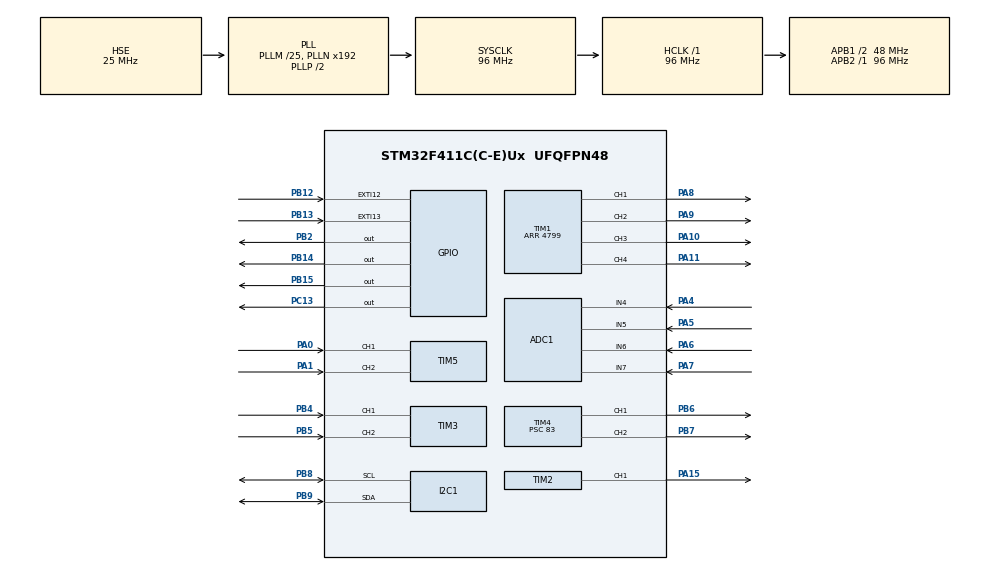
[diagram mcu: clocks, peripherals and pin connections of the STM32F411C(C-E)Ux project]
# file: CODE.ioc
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ADC1.Channel-4\#ChannelRegularConversion=ADC_CHANNEL_4
ADC1.Channel-5\#ChannelRegularConversion=ADC_CHANNEL_5
ADC1.Channel-6\#ChannelRegularConversion=ADC_CHANNEL_6
ADC1.Channel-7\#ChannelRegularConversion=ADC_CHANNEL_7
ADC1.ContinuousConvMode=ENABLE
ADC1.DMAContinuousRequests=ENABLE
ADC1.EOCSelection=ADC_EOC_SEQ_CONV
ADC1.NbrOfConversion=4
ADC1.NbrOfConversionFlag=1
ADC1.Rank-4\#ChannelRegularConversion=1
ADC1.Rank-5\#ChannelRegularConversion=2
ADC1.Rank-6\#ChannelRegularConversion=3
ADC1.Rank-7\#ChannelRegularConversion=4
ADC1.SamplingTime-4\#ChannelRegularConversion=ADC_SAMPLETIME_56CYCLES
ADC1.SamplingTime-5\#ChannelRegularConversion=ADC_SAMPLETIME_56CYCLES
ADC1.SamplingTime-6\#ChannelRegularConversion=ADC_SAMPLETIME_56CYCLES
ADC1.SamplingTime-7\#ChannelRegularConversion=ADC_SAMPLETIME_56CYCLES
ADC1.ScanConvMode=ENABLE
ADC1.master=1
Dma.ADC1.0.Direction=DMA_PERIPH_TO_MEMORY
Dma.ADC1.0.FIFOMode=DMA_FIFOMODE_DISABLE
Dma.ADC1.0.Instance=DMA2_Stream0
Dma.ADC1.0.MemDataAlignment=DMA_MDATAALIGN_HALFWORD
Dma.ADC1.0.MemInc=DMA_MINC_ENABLE
Dma.ADC1.0.Mode=DMA_CIRCULAR
Dma.ADC1.0.PeriphDataAlignment=DMA_PDATAALIGN_HALFWORD
Dma.ADC1.0.PeriphInc=DMA_PINC_DISABLE
Dma.ADC1.0.Priority=DMA_PRIORITY_MEDIUM
Dma.Request0=ADC1
Mcu.Family=STM32F4
Mcu.Name=STM32F411C(C-E)Ux
Mcu.Package=UFQFPN48
NVIC.DMA2_Stream0_IRQn=true\:0\:0\:false\:false\:true\:false\:true\:true
NVIC.EXTI15_10_IRQn=true\:2\:0\:true\:false\:true\:true\:true\:true
NVIC.PriorityGroup=NVIC_PRIORITYGROUP_4
NVIC.TIM1_BRK_TIM9_IRQn=true\:0\:0\:false\:false\:true\:true\:true\:true
NVIC.TIM2_IRQn=true\:0\:0\:false\:false\:true\:true\:true\:true
PA0-WKUP.Signal=S_TIM5_CH1
PA1.Signal=S_TIM5_CH2
PA10.Signal=S_TIM1_CH3
PA11.Signal=S_TIM1_CH4
PA13.Signal=SYS_JTMS-SWDIO
PA14.Signal=SYS_JTCK-SWCLK
PA15.Signal=S_TIM2_CH1_ETR
PA2.Signal=USART2_TX
PA3.Signal=USART2_RX
PA4.Signal=ADCx_IN4
PA5.Signal=ADCx_IN5
PA6.Signal=ADCx_IN6
PA7.Signal=ADCx_IN7
PA8.Signal=S_TIM1_CH1
PA9.Signal=S_TIM1_CH2
PB12.GPIO_ModeDefaultEXTI=GPIO_MODE_IT_RISING_FALLING
PB12.GPIO_PuPd=GPIO_PULLDOWN
PB12.Signal=GPXTI12
PB13.GPIO_ModeDefaultEXTI=GPIO_MODE_IT_RISING_FALLING
PB13.GPIO_PuPd=GPIO_PULLDOWN
PB13.Signal=GPXTI13
PB14.GPIO_ModeDefaultOutputPP=GPIO_MODE_OUTPUT_OD
PB14.GPIO_PuPd=GPIO_NOPULL
PB14.Signal=GPIO_Output
PB15.GPIO_ModeDefaultOutputPP=GPIO_MODE_OUTPUT_OD
PB15.GPIO_PuPd=GPIO_NOPULL
PB15.Signal=GPIO_Output
PB2.PinState=GPIO_PIN_RESET
PB2.Signal=GPIO_Output
PB3.Signal=SYS_JTDO-SWO
PB4.Signal=S_TIM3_CH1
PB5.Signal=S_TIM3_CH2
PB6.Signal=S_TIM4_CH1
PB7.Signal=S_TIM4_CH2
PB8.Mode=I2C
PB8.Signal=I2C1_SCL
PB9.Mode=I2C
PB9.Signal=I2C1_SDA
PC13-ANTI_TAMP.Signal=GPIO_Output
PH0\ -\ OSC_IN.Mode=HSE-External-Oscillator
PH0\ -\ OSC_IN.Signal=RCC_OSC_IN
PH1\ -\ OSC_OUT.Mode=HSE-External-Oscillator
PH1\ -\ OSC_OUT.Signal=RCC_OSC_OUT
ProjectManager.HeapSize=0x200
ProjectManager.StackSize=0x400
ProjectManager.TargetToolchain=STM32CubeIDE
RCC.48MHZClocksFreq_Value=48000000
RCC.AHBFreq_Value=96000000
RCC.APB1CLKDivider=RCC_HCLK_DIV2
RCC.APB1Freq_Value=48000000
RCC.APB1TimFreq_Value=96000000
RCC.APB2Freq_Value=96000000
RCC.APB2TimFreq_Value=96000000
RCC.CortexFreq_Value=96000000
RCC.HCLKFreq_Value=96000000
RCC.HSE_VALUE=25000000
RCC.HSI_VALUE=16000000
RCC.LSE_VALUE=32768
RCC.PLLM=25
RCC.PLLSourceVirtual=RCC_PLLSOURCE_HSE
RCC.SYSCLKFreq_VALUE=96000000
RCC.SYSCLKSource=RCC_SYSCLKSOURCE_PLLCLK
RCC.VCOOutputFreq_Value=192000000
SH.ADCx_IN4.0=ADC1_IN4,IN4
SH.ADCx_IN5.0=ADC1_IN5,IN5
SH.ADCx_IN6.0=ADC1_IN6,IN6
SH.ADCx_IN7.0=ADC1_IN7,IN7
SH.S_TIM1_CH1.0=TIM1_CH1,PWM Generation1 CH1
SH.S_TIM1_CH2.0=TIM1_CH2,PWM Generation2 CH2
SH.S_TIM1_CH3.0=TIM1_CH3,PWM Generation3 CH3
SH.S_TIM1_CH4.0=TIM1_CH4,PWM Generation4 CH4
SH.S_TIM2_CH1_ETR.0=TIM2_CH1,PWM Generation1 CH1
SH.S_TIM3_CH1.0=TIM3_CH1,Encoder_Interface
SH.S_TIM3_CH2.0=TIM3_CH2,Encoder_Interface
SH.S_TIM4_CH1.0=TIM4_CH1,PWM Generation1 CH1
SH.S_TIM4_CH2.0=TIM4_CH2,PWM Generation2 CH2
SH.S_TIM5_CH1.0=TIM5_CH1,Encoder_Interface
SH.S_TIM5_CH2.0=TIM5_CH2,Encoder_Interface
TIM1.Channel-PWM\ Generation1\ CH1=TIM_CHANNEL_1
TIM1.Channel-PWM\ Generation2\ CH2=TIM_CHANNEL_2
TIM1.Channel-PWM\ Generation3\ CH3=TIM_CHANNEL_3
TIM1.Channel-PWM\ Generation4\ CH4=TIM_CHANNEL_4
TIM1.OCMode_PWM-PWM\ Generation1\ CH1=TIM_OCMODE_PWM2
TIM1.OCMode_PWM-PWM\ Generation2\ CH2=TIM_OCMODE_PWM2
TIM1.OCMode_PWM-PWM\ Generation3\ CH3=TIM_OCMODE_PWM2
TIM1.OCMode_PWM-PWM\ Generation4\ CH4=TIM_OCMODE_PWM2
TIM1.Period=4799
TIM2.Channel-PWM\ Generation1\ CH1=TIM_CHANNEL_1
TIM2.Period=1088
TIM2.Prescaler=0
TIM4.Channel-PWM\ Generation1\ CH1=TIM_CHANNEL_1
TIM4.Channel-PWM\ Generation2\ CH2=TIM_CHANNEL_2
TIM4.Period=19999
TIM4.Prescaler=83
TIM9.Period=99
TIM9.Prescaler=959
VP_TIM2_VS_ClockSourceINT.Mode=Internal
VP_TIM9_VS_ClockSourceINT.Mode=Internal
board=custom

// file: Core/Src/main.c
/* USER CODE BEGIN Header */
/**
  ******************************************************************************
  * @file           : main.c
  * @brief          : Main program body
  ******************************************************************************
  * @attention
  *
  * Copyright (c) 2025 STMicroelectronics.
  * All rights reserved.
  *
  * This software is licensed under terms that can be found in the LICENSE file
  * in the root directory of this software component.
  * If no LICENSE file comes with this software, it is provided AS-IS.
  *
  ******************************************************************************
  */
/* USER CODE END Header */
#include "main.h"

/* USER CODE BEGIN Includes */
#include "controller_task.h"
#include "motor_driver.h"
#include "game_task.h"
#include "sound_task.h"
#include "shoot_task.h"
#include "lcd.h"
#include "motor_driver.h"
#include "photoresistor_task.h"
#include "adc_task.h"
#include "encoder_driver.h"
#include "stm32f4xx_it.h"
#include <stdint.h>
/* USER CODE END Includes */

ADC_HandleTypeDef hadc1;
DMA_HandleTypeDef hdma_adc1;

I2C_HandleTypeDef hi2c1;

TIM_HandleTypeDef htim1;
TIM_HandleTypeDef htim2;
TIM_HandleTypeDef htim3;
TIM_HandleTypeDef htim4;
TIM_HandleTypeDef htim5;
TIM_HandleTypeDef htim9;

/* USER CODE BEGIN PV */
uint8_t red_held = 0, blue_held = 0;
uint32_t red_start = 0, blue_start = 0;
uint32_t red_elapsed = 0, blue_elapsed = 0;
const uint32_t hold_time = 2000; // 2s @ 1ms
void calibration(void);
void wait_for_stall(encoder_t *encoder);

// create structs here so that variable pointers can be passed around
motor_t mred = {
		.tim = &htim1,
		.chan1 = TIM_CHANNEL_3,
		.chan2 = TIM_CHANNEL_4
};
motor_t mblue = {
		.tim = &htim1,
		.chan1 = TIM_CHANNEL_1,
		.chan2 = TIM_CHANNEL_2
};
encoder_t red_encoder = {.zero = 0,
						 .ar = 0xFFFFFFFF,
						 .ticks = 0,
						 .last_ticks = 0,
						 .range = 1300,
						 .htim = &htim5

};
encoder_t blue_encoder = {.zero = 0,
						  .ar = 0xFFFF,
						  .ticks = 0,
						  .last_ticks = 0,
						  .range = 1300,
						  .htim = &htim3
};
// sound task will be passed into other tasks so needs to be declared first
SoundTask sound_task = {.state = 0,
                      .num_states = 7,
					  .laser_snd = 0,
					  .hit_snd = 0,
					  .start_snd = 0,
					  .win_snd = 0,
					  .htim = &htim2,
					  .chan = TIM_CHANNEL_1,
                      .state_list = {&sound_task_state_0_init,
									 &sound_task_state_1_wait,
									 &sound_task_state_2_laser,
									 &sound_task_state_3_hit,
									 &sound_task_state_4_win,
									 &sound_task_state_5_start,
									 &sound_task_state_6_stop}

};
PhotoresistorTask red_photoresistor_task = {.state = 0,
											.num_states = 3,
											.hit_flag = 0,
											.adc_val = 0,
											.thresh = 2000,
											.zero = 0,
											.state_list = {&photoresistor_task_state_0_init,
													       &photoresistor_task_state_1_look,
														   &photoresistor_task_state_2_hit}
};
PhotoresistorTask blue_photoresistor_task = {.state = 0,
											.num_states = 3,
											.hit_flag = 0,
											.adc_val = 0,
											.thresh = 2000,
											.zero = 0,
											.state_list = {&photoresistor_task_state_0_init,
													       &photoresistor_task_state_1_look,
														   &photoresistor_task_state_2_hit}
};
GameTask game_task = {.state = 0, //delay timer in .1 ms
                      .num_states = 4,
					  .play_flag = 0,
					  .score_red = 0,
					  .score_blue = 0,
					  .score_red_prev = 0,
					  .score_blue_prev = 0,
					  .score_thresh = 5,
					  .num = 0,
					  .red_delay_start = 0,
					  .blue_delay_start = 0,
					  .red_delay_flag = 0,
					  .blue_delay_flag = 0,
					  .delay = 2000, 	// 2 second delay
					  .end_delay = 5000,	// 3 second delay
					  .htim = &htim9,
					  .sound_task_ptr = &sound_task,
					  .red_photoresistor_task_ptr = &red_photoresistor_task,
					  .blue_photoresistor_task_ptr = &blue_photoresistor_task,
					  .mred = &mred,
					  .mblue = &mblue,
					  .i2c_handle = &hi2c1,
                      .state_list = {&game_task_state_0_init,
                                     &game_task_state_1_home,
                                     &game_task_state_2_play,
									 &game_task_state_3_end}

};
ShootTask red_shoot_task = {.state = 0,
							.num_states = 4,
   							.button = 0,
							.servo_tim = &htim4,
							.channel = TIM_CHANNEL_2, // make sure this is red
							.shield_val = 2900, // tune
							.unshield_val = 400, // tune
							.laser_gpio = GPIO_PIN_15, // make sure this is red
							.state_list = {&shoot_task_state_0_init,
										   &shoot_task_state_1_wait,
										   &shoot_task_state_2_unshield,
										   &shoot_task_state_3_shoot}
};
ShootTask blue_shoot_task = {.state = 0,
							.num_states = 4,
   							.button = 0,
							.servo_tim = &htim4,
							.channel = TIM_CHANNEL_1, // make sure this is blue
							.shield_val = 2900, // tune
							.unshield_val = 400, // tune
							.laser_gpio = GPIO_PIN_14, // make sure this is blue, 15 and chan 2 are tied
							.state_list = {&shoot_task_state_0_init,
										   &shoot_task_state_1_wait,
										   &shoot_task_state_2_unshield,
										   &shoot_task_state_3_shoot}
};
ControllerTask blue_controller_task = {.dir = -1, // blue is fighter 2
									   .state = 0,
									   .num_states = 2,
									   .chan1 = TIM_CHANNEL_3,
									   .chan2 = TIM_CHANNEL_4,
									   .pot_zero = 0,
									   .des_pos = 0,
									   .prev_time = 0,
									   .current_time = 0,
									   .prev_ticks = 0,
									   .k_p = 1,
									   .k_i = 0,
									   .adc_val = 0,
									   .integral_error = 0,
									   .htim_encoder = &htim3,		// encoder timer for blue motor
									   .htim_dt = &htim2,
									   .hadc = &hadc1,              // ADC handle for blue motor potentiometer input
									   .motor = &mblue,
									   .encoder = &blue_encoder,
									   .state_list = {&controller_task_state_0_init,
													  &controller_task_state_1_pos}
};
ControllerTask red_controller_task = {.dir = 1, // red is fighter 1
									  .state = 0,
									  .num_states = 2,
									  .chan1 = TIM_CHANNEL_1,
									  .chan2 = TIM_CHANNEL_2,
									  .pot_zero = 0,
									  .des_pos = 0,
									  .prev_time = 0,
									  .current_time = 0,
									  .prev_ticks = 0,
									  .k_p = -1,
									  .k_i = 0,
									  .adc_val = 0,
									  .integral_error = 0,
									  .htim_encoder = &htim5,
									  .htim_dt = &htim2,
									  .hadc = &hadc1,
									  .motor = &mred,
									  .encoder = &red_encoder,
									  .state_list = {&controller_task_state_0_init,
													 &controller_task_state_1_pos}
};
ADCTask adc_task = {.state = 0,
					.num_states = 2,
					.red_contr_ptr = &red_controller_task,
					.blue_contr_ptr = &blue_controller_task,
					.red_photor_ptr = &red_photoresistor_task,
					.blue_photor_ptr = &blue_photoresistor_task,
					.hadc = &hadc1,
					.state_list = {&adc_task_state_0_init,
								   &adc_task_state_1_read}

};

/* USER CODE END PV */

void SystemClock_Config(void);
static void MX_GPIO_Init(void);
static void MX_DMA_Init(void);
static void MX_I2C1_Init(void);
static void MX_TIM1_Init(void);
static void MX_TIM3_Init(void);
static void MX_TIM4_Init(void);
static void MX_TIM5_Init(void);
static void MX_TIM2_Init(void);
static void MX_ADC1_Init(void);
static void MX_TIM9_Init(void);

int main(void)
{

  /* MCU Configuration--------------------------------------------------------*/

  /* Reset of all peripherals, Initializes the Flash interface and the Systick. */
  HAL_Init();

  /* Configure the system clock */
  SystemClock_Config();

  /* Initialize all configured peripherals */
  MX_GPIO_Init();
  MX_DMA_Init();
  MX_I2C1_Init();
  MX_TIM1_Init();
  MX_TIM3_Init();
  MX_TIM4_Init();
  MX_TIM5_Init();
  MX_TIM2_Init();
  MX_ADC1_Init();
  MX_TIM9_Init();
  /* USER CODE BEGIN 2 */
  HAL_TIM_PWM_Start(&htim2, TIM_CHANNEL_1);

  HAL_TIM_PWM_Start_IT(&htim1, TIM_CHANNEL_1);
  HAL_TIM_PWM_Start_IT(&htim1, TIM_CHANNEL_2);
  HAL_TIM_PWM_Start_IT(&htim1, TIM_CHANNEL_3);
  HAL_TIM_PWM_Start_IT(&htim1, TIM_CHANNEL_4);

  HAL_TIM_PWM_Start(&htim4, TIM_CHANNEL_1);
  HAL_TIM_PWM_Start(&htim4, TIM_CHANNEL_2);

  HAL_TIM_Base_Start(&htim1);
  HAL_TIM_Base_Start_IT(&htim2);
  HAL_TIM_Base_Start(&htim4);
  HAL_TIM_Base_Start_IT(&htim9);

  HAL_TIM_Encoder_Start(red_encoder.htim, TIM_CHANNEL_ALL);
  HAL_TIM_Encoder_Start(blue_encoder.htim, TIM_CHANNEL_ALL);

  enable(&mred);
  enable(&mblue);
  //
  HAL_GPIO_WritePin(GPIOB, GPIO_PIN_2, GPIO_PIN_SET);
  // sleep pins
  HAL_GPIO_WritePin(GPIOB, GPIO_PIN_15, GPIO_PIN_SET);
  HAL_GPIO_WritePin(GPIOB, GPIO_PIN_14, GPIO_PIN_SET);
  adc_task_run(&adc_task);
  HAL_Delay(2000); // 2 second delay to let stuff get set up
  adc_task_run(&adc_task);
  lcd_clear();
  lcd_set_cursor(1, 0);
  lcd_print("  Zap'em Blast'em   ");
  lcd_set_cursor(2, 0);
  lcd_print("       Robots       ");
  calibration();
  HAL_Delay(1000);
  setup_encoder(&red_encoder);
  setup_encoder(&blue_encoder);
  /* USER CODE END 2 */

  /* Infinite loop */
  /* USER CODE BEGIN WHILE */
  while (1)
  {
	  adc_task_run(&adc_task);
	  game_task_run(&game_task);
	  sound_task_run(&sound_task);

	  // set play flag by each player holding button for 2 seconds
	  if (red_held && blue_held && game_task.play_flag == 0)
	  {
	      uint32_t now = ms_counter;
	      red_elapsed = now - red_start;
	      blue_elapsed = now - blue_start;

	      if (red_elapsed > hold_time && blue_elapsed > hold_time)
	      {
	          game_task.play_flag = 1;
	          red_held = 0;
	          blue_held = 0;
	          red_shoot_task.button = 0;
	          blue_shoot_task.button = 0;
	      }
	  }
	  if (game_task.play_flag){ //shooting and scoring disabled when game hasn't started

		  shoot_task_run(&red_shoot_task);
		  shoot_task_run(&blue_shoot_task);
		  controller_task_run(&blue_controller_task);
		  controller_task_run(&red_controller_task);
		  photoresistor_task_run(&red_photoresistor_task);
		  photoresistor_task_run(&blue_photoresistor_task);
	  }

	  HAL_Delay(1);

    /* USER CODE END WHILE */

  }
}

void SystemClock_Config(void)
{
  RCC_OscInitTypeDef RCC_OscInitStruct = {0};
  RCC_ClkInitTypeDef RCC_ClkInitStruct = {0};

  /** Configure the main internal regulator output voltage
  */
  __HAL_RCC_PWR_CLK_ENABLE();
  __HAL_PWR_VOLTAGESCALING_CONFIG(PWR_REGULATOR_VOLTAGE_SCALE1);

  /** Initializes the RCC Oscillators according to the specified parameters
  * in the RCC_OscInitTypeDef structure.
  */
  RCC_OscInitStruct.OscillatorType = RCC_OSCILLATORTYPE_HSE;
  RCC_OscInitStruct.HSEState = RCC_HSE_ON;
  RCC_OscInitStruct.PLL.PLLState = RCC_PLL_ON;
  RCC_OscInitStruct.PLL.PLLSource = RCC_PLLSOURCE_HSE;
  RCC_OscInitStruct.PLL.PLLM = 25;
  RCC_OscInitStruct.PLL.PLLN = 192;
  RCC_OscInitStruct.PLL.PLLP = RCC_PLLP_DIV2;
  RCC_OscInitStruct.PLL.PLLQ = 4;
  if (HAL_RCC_OscConfig(&RCC_OscInitStruct) != HAL_OK)
  {
    Error_Handler();
  }

  /** Initializes the CPU, AHB and APB buses clocks
  */
  RCC_ClkInitStruct.ClockType = RCC_CLOCKTYPE_HCLK|RCC_CLOCKTYPE_SYSCLK
                              |RCC_CLOCKTYPE_PCLK1|RCC_CLOCKTYPE_PCLK2;
  RCC_ClkInitStruct.SYSCLKSource = RCC_SYSCLKSOURCE_PLLCLK;
  RCC_ClkInitStruct.AHBCLKDivider = RCC_SYSCLK_DIV1;
  RCC_ClkInitStruct.APB1CLKDivider = RCC_HCLK_DIV2;
  RCC_ClkInitStruct.APB2CLKDivider = RCC_HCLK_DIV1;

  if (HAL_RCC_ClockConfig(&RCC_ClkInitStruct, FLASH_LATENCY_3) != HAL_OK)
  {
    Error_Handler();
  }
}

static void MX_ADC1_Init(void)
{

  ADC_ChannelConfTypeDef sConfig = {0};

  /** Configure the global features of the ADC (Clock, Resolution, Data Alignment and number of conversion)
  */
  hadc1.Instance = ADC1;
  hadc1.Init.ClockPrescaler = ADC_CLOCK_SYNC_PCLK_DIV4;
  hadc1.Init.Resolution = ADC_RESOLUTION_12B;
  hadc1.Init.ScanConvMode = ENABLE;
  hadc1.Init.ContinuousConvMode = ENABLE;
  hadc1.Init.DiscontinuousConvMode = DISABLE;
  hadc1.Init.ExternalTrigConvEdge = ADC_EXTERNALTRIGCONVEDGE_NONE;
  hadc1.Init.ExternalTrigConv = ADC_SOFTWARE_START;
  hadc1.Init.DataAlign = ADC_DATAALIGN_RIGHT;
  hadc1.Init.NbrOfConversion = 4;
  hadc1.Init.DMAContinuousRequests = ENABLE;
  hadc1.Init.EOCSelection = ADC_EOC_SEQ_CONV;
  if (HAL_ADC_Init(&hadc1) != HAL_OK)
  {
    Error_Handler();
  }

  /** Configure for the selected ADC regular channel its corresponding rank in the sequencer and its sample time.
  */
  sConfig.Channel = ADC_CHANNEL_4;
  sConfig.Rank = 1;
  sConfig.SamplingTime = ADC_SAMPLETIME_56CYCLES;
  if (HAL_ADC_ConfigChannel(&hadc1, &sConfig) != HAL_OK)
  {
    Error_Handler();
  }

  /** Configure for the selected ADC regular channel its corresponding rank in the sequencer and its sample time.
  */
  sConfig.Channel = ADC_CHANNEL_5;
  sConfig.Rank = 2;
  if (HAL_ADC_ConfigChannel(&hadc1, &sConfig) != HAL_OK)
  {
    Error_Handler();
  }

  /** Configure for the selected ADC regular channel its corresponding rank in the sequencer and its sample time.
  */
  sConfig.Channel = ADC_CHANNEL_6;
  sConfig.Rank = 3;
  if (HAL_ADC_ConfigChannel(&hadc1, &sConfig) != HAL_OK)
  {
    Error_Handler();
  }

  /** Configure for the selected ADC regular channel its corresponding rank in the sequencer and its sample time.
  */
  sConfig.Channel = ADC_CHANNEL_7;
  sConfig.Rank = 4;
  if (HAL_ADC_ConfigChannel(&hadc1, &sConfig) != HAL_OK)
  {
    Error_Handler();
  }

}

static void MX_I2C1_Init(void)
{

  hi2c1.Instance = I2C1;
  hi2c1.Init.ClockSpeed = 100000;
  hi2c1.Init.DutyCycle = I2C_DUTYCYCLE_2;
  hi2c1.Init.OwnAddress1 = 0;
  hi2c1.Init.AddressingMode = I2C_ADDRESSINGMODE_7BIT;
  hi2c1.Init.DualAddressMode = I2C_DUALADDRESS_DISABLE;
  hi2c1.Init.OwnAddress2 = 0;
  hi2c1.Init.GeneralCallMode = I2C_GENERALCALL_DISABLE;
  hi2c1.Init.NoStretchMode = I2C_NOSTRETCH_DISABLE;
  if (HAL_I2C_Init(&hi2c1) != HAL_OK)
  {
    Error_Handler();
  }

}

static void MX_TIM1_Init(void)
{

  TIM_MasterConfigTypeDef sMasterConfig = {0};
  TIM_OC_InitTypeDef sConfigOC = {0};
  TIM_BreakDeadTimeConfigTypeDef sBreakDeadTimeConfig = {0};

  htim1.Instance = TIM1;
  htim1.Init.Prescaler = 0;
  htim1.Init.CounterMode = TIM_COUNTERMODE_UP;
  htim1.Init.Period = 4799;
  htim1.Init.ClockDivision = TIM_CLOCKDIVISION_DIV1;
  htim1.Init.RepetitionCounter = 0;
  htim1.Init.AutoReloadPreload = TIM_AUTORELOAD_PRELOAD_DISABLE;
  if (HAL_TIM_PWM_Init(&htim1) != HAL_OK)
  {
    Error_Handler();
  }
  sMasterConfig.MasterOutputTrigger = TIM_TRGO_RESET;
  sMasterConfig.MasterSlaveMode = TIM_MASTERSLAVEMODE_DISABLE;
  if (HAL_TIMEx_MasterConfigSynchronization(&htim1, &sMasterConfig) != HAL_OK)
  {
    Error_Handler();
  }
  sConfigOC.OCMode = TIM_OCMODE_PWM2;
  sConfigOC.Pulse = 0;
  sConfigOC.OCPolarity = TIM_OCPOLARITY_HIGH;
  sConfigOC.OCNPolarity = TIM_OCNPOLARITY_HIGH;
  sConfigOC.OCFastMode = TIM_OCFAST_DISABLE;
  sConfigOC.OCIdleState = TIM_OCIDLESTATE_RESET;
  sConfigOC.OCNIdleState = TIM_OCNIDLESTATE_RESET;
  if (HAL_TIM_PWM_ConfigChannel(&htim1, &sConfigOC, TIM_CHANNEL_1) != HAL_OK)
  {
    Error_Handler();
  }
  if (HAL_TIM_PWM_ConfigChannel(&htim1, &sConfigOC, TIM_CHANNEL_2) != HAL_OK)
  {
    Error_Handler();
  }
  if (HAL_TIM_PWM_ConfigChannel(&htim1, &sConfigOC, TIM_CHANNEL_3) != HAL_OK)
  {
    Error_Handler();
  }
  if (HAL_TIM_PWM_ConfigChannel(&htim1, &sConfigOC, TIM_CHANNEL_4) != HAL_OK)
  {
    Error_Handler();
  }
  sBreakDeadTimeConfig.OffStateRunMode = TIM_OSSR_DISABLE;
  sBreakDeadTimeConfig.OffStateIDLEMode = TIM_OSSI_DISABLE;
  sBreakDeadTimeConfig.LockLevel = TIM_LOCKLEVEL_OFF;
  sBreakDeadTimeConfig.DeadTime = 0;
  sBreakDeadTimeConfig.BreakState = TIM_BREAK_DISABLE;
  sBreakDeadTimeConfig.BreakPolarity = TIM_BREAKPOLARITY_HIGH;
  sBreakDeadTimeConfig.AutomaticOutput = TIM_AUTOMATICOUTPUT_DISABLE;
  if (HAL_TIMEx_ConfigBreakDeadTime(&htim1, &sBreakDeadTimeConfig) != HAL_OK)
  {
    Error_Handler();
  }
  HAL_TIM_MspPostInit(&htim1);

}

static void MX_TIM2_Init(void)
{

  TIM_ClockConfigTypeDef sClockSourceConfig = {0};
  TIM_MasterConfigTypeDef sMasterConfig = {0};
  TIM_OC_InitTypeDef sConfigOC = {0};

  htim2.Instance = TIM2;
  htim2.Init.Prescaler = 0;
  htim2.Init.CounterMode = TIM_COUNTERMODE_UP;
  htim2.Init.Period = 1088;
  htim2.Init.ClockDivision = TIM_CLOCKDIVISION_DIV1;
  htim2.Init.AutoReloadPreload = TIM_AUTORELOAD_PRELOAD_DISABLE;
  if (HAL_TIM_Base_Init(&htim2) != HAL_OK)
  {
    Error_Handler();
  }
  sClockSourceConfig.ClockSource = TIM_CLOCKSOURCE_INTERNAL;
  if (HAL_TIM_ConfigClockSource(&htim2, &sClockSourceConfig) != HAL_OK)
  {
    Error_Handler();
  }
  if (HAL_TIM_PWM_Init(&htim2) != HAL_OK)
  {
    Error_Handler();
  }
  sMasterConfig.MasterOutputTrigger = TIM_TRGO_RESET;
  sMasterConfig.MasterSlaveMode = TIM_MASTERSLAVEMODE_DISABLE;
  if (HAL_TIMEx_MasterConfigSynchronization(&htim2, &sMasterConfig) != HAL_OK)
  {
    Error_Handler();
  }
  sConfigOC.OCMode = TIM_OCMODE_PWM1;
  sConfigOC.Pulse = 0;
  sConfigOC.OCPolarity = TIM_OCPOLARITY_HIGH;
  sConfigOC.OCFastMode = TIM_OCFAST_DISABLE;
  if (HAL_TIM_PWM_ConfigChannel(&htim2, &sConfigOC, TIM_CHANNEL_1) != HAL_OK)
  {
    Error_Handler();
  }
  HAL_TIM_MspPostInit(&htim2);

}

static void MX_TIM3_Init(void)
{

  TIM_Encoder_InitTypeDef sConfig = {0};
  TIM_MasterConfigTypeDef sMasterConfig = {0};

  htim3.Instance = TIM3;
  htim3.Init.Prescaler = 0;
  htim3.Init.CounterMode = TIM_COUNTERMODE_UP;
  htim3.Init.Period = 65535;
  htim3.Init.ClockDivision = TIM_CLOCKDIVISION_DIV1;
  htim3.Init.AutoReloadPreload = TIM_AUTORELOAD_PRELOAD_DISABLE;
  sConfig.EncoderMode = TIM_ENCODERMODE_TI1;
  sConfig.IC1Polarity = TIM_ICPOLARITY_RISING;
  sConfig.IC1Selection = TIM_ICSELECTION_DIRECTTI;
  sConfig.IC1Prescaler = TIM_ICPSC_DIV1;
  sConfig.IC1Filter = 0;
  sConfig.IC2Polarity = TIM_ICPOLARITY_RISING;
  sConfig.IC2Selection = TIM_ICSELECTION_DIRECTTI;
  sConfig.IC2Prescaler = TIM_ICPSC_DIV1;
  sConfig.IC2Filter = 0;
  if (HAL_TIM_Encoder_Init(&htim3, &sConfig) != HAL_OK)
  {
    Error_Handler();
  }
  sMasterConfig.MasterOutputTrigger = TIM_TRGO_RESET;
  sMasterConfig.MasterSlaveMode = TIM_MASTERSLAVEMODE_DISABLE;
  if (HAL_TIMEx_MasterConfigSynchronization(&htim3, &sMasterConfig) != HAL_OK)
  {
    Error_Handler();
  }

}

static void MX_TIM4_Init(void)
{

  TIM_MasterConfigTypeDef sMasterConfig = {0};
  TIM_OC_InitTypeDef sConfigOC = {0};

  htim4.Instance = TIM4;
  htim4.Init.Prescaler = 83;
  htim4.Init.CounterMode = TIM_COUNTERMODE_UP;
  htim4.Init.Period = 19999;
  htim4.Init.ClockDivision = TIM_CLOCKDIVISION_DIV1;
  htim4.Init.AutoReloadPreload = TIM_AUTORELOAD_PRELOAD_DISABLE;
  if (HAL_TIM_PWM_Init(&htim4) != HAL_OK)
  {
    Error_Handler();
  }
  sMasterConfig.MasterOutputTrigger = TIM_TRGO_RESET;
  sMasterConfig.MasterSlaveMode = TIM_MASTERSLAVEMODE_DISABLE;
  if (HAL_TIMEx_MasterConfigSynchronization(&htim4, &sMasterConfig) != HAL_OK)
  {
    Error_Handler();
  }
  sConfigOC.OCMode = TIM_OCMODE_PWM1;
  sConfigOC.Pulse = 0;
  sConfigOC.OCPolarity = TIM_OCPOLARITY_HIGH;
  sConfigOC.OCFastMode = TIM_OCFAST_DISABLE;
  if (HAL_TIM_PWM_ConfigChannel(&htim4, &sConfigOC, TIM_CHANNEL_1) != HAL_OK)
  {
    Error_Handler();
  }
  if (HAL_TIM_PWM_ConfigChannel(&htim4, &sConfigOC, TIM_CHANNEL_2) != HAL_OK)
  {
    Error_Handler();
  }
  HAL_TIM_MspPostInit(&htim4);

}

static void MX_TIM5_Init(void)
{

  TIM_Encoder_InitTypeDef sConfig = {0};
  TIM_MasterConfigTypeDef sMasterConfig = {0};

  htim5.Instance = TIM5;
  htim5.Init.Prescaler = 0;
  htim5.Init.CounterMode = TIM_COUNTERMODE_UP;
  htim5.Init.Period = 4294967295;
  htim5.Init.ClockDivision = TIM_CLOCKDIVISION_DIV1;
  htim5.Init.AutoReloadPreload = TIM_AUTORELOAD_PRELOAD_DISABLE;
  sConfig.EncoderMode = TIM_ENCODERMODE_TI1;
  sConfig.IC1Polarity = TIM_ICPOLARITY_RISING;
  sConfig.IC1Selection = TIM_ICSELECTION_DIRECTTI;
  sConfig.IC1Prescaler = TIM_ICPSC_DIV1;
  sConfig.IC1Filter = 0;
  sConfig.IC2Polarity = TIM_ICPOLARITY_RISING;
  sConfig.IC2Selection = TIM_ICSELECTION_DIRECTTI;
  sConfig.IC2Prescaler = TIM_ICPSC_DIV1;
  sConfig.IC2Filter = 0;
  if (HAL_TIM_Encoder_Init(&htim5, &sConfig) != HAL_OK)
  {
    Error_Handler();
  }
  sMasterConfig.MasterOutputTrigger = TIM_TRGO_RESET;
  sMasterConfig.MasterSlaveMode = TIM_MASTERSLAVEMODE_DISABLE;
  if (HAL_TIMEx_MasterConfigSynchronization(&htim5, &sMasterConfig) != HAL_OK)
  {
    Error_Handler();
  }

}

static void MX_TIM9_Init(void)
{

  TIM_ClockConfigTypeDef sClockSourceConfig = {0};

  htim9.Instance = TIM9;
  htim9.Init.Prescaler = 959;
  htim9.Init.CounterMode = TIM_COUNTERMODE_UP;
  htim9.Init.Period = 99;
  htim9.Init.ClockDivision = TIM_CLOCKDIVISION_DIV1;
  htim9.Init.AutoReloadPreload = TIM_AUTORELOAD_PRELOAD_DISABLE;
  if (HAL_TIM_Base_Init(&htim9) != HAL_OK)
  {
    Error_Handler();
  }
  sClockSourceConfig.ClockSource = TIM_CLOCKSOURCE_INTERNAL;
  if (HAL_TIM_ConfigClockSource(&htim9, &sClockSourceConfig) != HAL_OK)
  {
    Error_Handler();
  }

}

static void MX_DMA_Init(void)
{

  /* DMA controller clock enable */
  __HAL_RCC_DMA2_CLK_ENABLE();

  /* DMA interrupt init */
  /* DMA2_Stream0_IRQn interrupt configuration */
  HAL_NVIC_SetPriority(DMA2_Stream0_IRQn, 0, 0);
  HAL_NVIC_EnableIRQ(DMA2_Stream0_IRQn);

}

static void MX_GPIO_Init(void)
{
  GPIO_InitTypeDef GPIO_InitStruct = {0};

  /* GPIO Ports Clock Enable */
  __HAL_RCC_GPIOC_CLK_ENABLE();
  __HAL_RCC_GPIOH_CLK_ENABLE();
  __HAL_RCC_GPIOA_CLK_ENABLE();
  __HAL_RCC_GPIOB_CLK_ENABLE();

  /*Configure GPIO pin Output Level */
  HAL_GPIO_WritePin(GPIOC, GPIO_PIN_13, GPIO_PIN_RESET);

  /*Configure GPIO pin Output Level */
  HAL_GPIO_WritePin(GPIOB, GPIO_PIN_2|GPIO_PIN_14|GPIO_PIN_15, GPIO_PIN_RESET);

  /*Configure GPIO pin : PC13 */
  GPIO_InitStruct.Pin = GPIO_PIN_13;
  GPIO_InitStruct.Mode = GPIO_MODE_OUTPUT_PP;
  GPIO_InitStruct.Pull = GPIO_NOPULL;
  GPIO_InitStruct.Speed = GPIO_SPEED_FREQ_LOW;
  HAL_GPIO_Init(GPIOC, &GPIO_InitStruct);

  /*Configure GPIO pins : PA2 PA3 */
  GPIO_InitStruct.Pin = GPIO_PIN_2|GPIO_PIN_3;
  GPIO_InitStruct.Mode = GPIO_MODE_AF_PP;
  GPIO_InitStruct.Pull = GPIO_NOPULL;
  GPIO_InitStruct.Speed = GPIO_SPEED_FREQ_VERY_HIGH;
  GPIO_InitStruct.Alternate = GPIO_AF7_USART2;
  HAL_GPIO_Init(GPIOA, &GPIO_InitStruct);

  /*Configure GPIO pin : PB2 */
  GPIO_InitStruct.Pin = GPIO_PIN_2;
  GPIO_InitStruct.Mode = GPIO_MODE_OUTPUT_PP;
  GPIO_InitStruct.Pull = GPIO_NOPULL;
  GPIO_InitStruct.Speed = GPIO_SPEED_FREQ_LOW;
  HAL_GPIO_Init(GPIOB, &GPIO_InitStruct);

  /*Configure GPIO pins : PB12 PB13 */
  GPIO_InitStruct.Pin = GPIO_PIN_12|GPIO_PIN_13;
  GPIO_InitStruct.Mode = GPIO_MODE_IT_RISING_FALLING;
  GPIO_InitStruct.Pull = GPIO_PULLDOWN;
  HAL_GPIO_Init(GPIOB, &GPIO_InitStruct);

  /*Configure GPIO pins : PB14 PB15 */
  GPIO_InitStruct.Pin = GPIO_PIN_14|GPIO_PIN_15;
  GPIO_InitStruct.Mode = GPIO_MODE_OUTPUT_OD;
  GPIO_InitStruct.Pull = GPIO_NOPULL;
  GPIO_InitStruct.Speed = GPIO_SPEED_FREQ_LOW;
  HAL_GPIO_Init(GPIOB, &GPIO_InitStruct);

  /* EXTI interrupt init*/
  HAL_NVIC_SetPriority(EXTI15_10_IRQn, 2, 0);
  HAL_NVIC_EnableIRQ(EXTI15_10_IRQn);

}

/* USER CODE BEGIN 4 */
void HAL_GPIO_EXTI_Callback(uint16_t GPIO_Pin)
{
	if (GPIO_Pin == GPIO_PIN_13) // RED
	    {
	        if (HAL_GPIO_ReadPin(GPIOB, GPIO_PIN_13) == GPIO_PIN_RESET){// && game_task.red_delay_flag == 0) {
	            red_held = 1;
	            red_start = ms_counter;
	            red_shoot_task.button = 1;
	            if (game_task.play_flag == 1){
	            	sound_task.laser_snd = 1;
	            }
	            if(playing){
					playing = 0;
					sound_task.state = 6;
				}

	        }
	        else {
	            red_held = 0;
	            red_shoot_task.button = 0;
	        }
	    }

	    if (GPIO_Pin == GPIO_PIN_12) // BLUE
	    {
	        if (HAL_GPIO_ReadPin(GPIOB, GPIO_PIN_12) == GPIO_PIN_RESET){// && game_task.blue_delay_flag == 0) {
	            blue_held = 1;
	            blue_start = ms_counter;
	            blue_shoot_task.button = 1;
	            if (game_task.play_flag == 1){
					sound_task.laser_snd = 1;
				if(playing){
					playing = 0;
					sound_task.state = 6;
				}

				}
	        }
	        else {
	            blue_held = 0;
	            blue_shoot_task.button = 0;
	        }
	    }

//    // === Photoresistor Hit Detection ===
//    if (blue_photoresistor_task.adc_val > blue_photoresistor_task.zero + blue_photoresistor_task.thresh)
//    {
//        blue_photoresistor_task.hit_flag = 1;
//    }
//    if (red_photoresistor_task.adc_val > red_photoresistor_task.zero + red_photoresistor_task.thresh)
//    {
//        red_photoresistor_task.hit_flag = 1;
//    }
}

void calibration(void) {
    const float Kp = 1.0f;
    const int  HOMING_TOL = 5;      // ticks tolerance
    const uint32_t TIMEOUT = 3000;  // ms
    uint32_t red_photo_sum = 0;
    uint32_t blue_photo_sum = 0;

    // 1) Center shields & zero photoresistors
    __HAL_TIM_SET_COMPARE(red_shoot_task.servo_tim,   red_shoot_task.channel,   red_shoot_task.shield_val);
    __HAL_TIM_SET_COMPARE(blue_shoot_task.servo_tim,  blue_shoot_task.channel,  blue_shoot_task.shield_val);
    HAL_Delay(1200);
    red_photo_sum  += red_photoresistor_task.adc_val;
    blue_photo_sum += blue_photoresistor_task.adc_val;

    // --- Drive both to MIN end ---
    set_duty(&mred,  +30);
    set_duty(&mblue, -30);
    wait_for_stall(&red_encoder);
    wait_for_stall(&blue_encoder);
    int32_t red_min  = red_encoder.ticks;
    int32_t blue_min = blue_encoder.ticks;
    set_duty(&mred,  0);
    set_duty(&mblue, 0);
    red_photo_sum  += red_photoresistor_task.adc_val;
	blue_photo_sum += blue_photoresistor_task.adc_val;

    // --- Drive both to MAX end ---
    set_duty(&mred,  -30);
    set_duty(&mblue, +30);
    wait_for_stall(&red_encoder);
    wait_for_stall(&blue_encoder);
    int32_t red_max  = red_encoder.ticks;
    int32_t blue_max = blue_encoder.ticks;
    set_duty(&mred,  0);
    set_duty(&mblue, 0);
    red_photo_sum  += red_photoresistor_task.adc_val;
	blue_photo_sum += blue_photoresistor_task.adc_val;

    // --- Compute midpoints ---
    int32_t red_home  = (-red_min  - red_max)  / 2;
    int32_t blue_home = (blue_min + blue_max) / 2;

    // --- Compute photo resistor zeros ---
    red_photoresistor_task.zero  = red_photo_sum / 3;
    blue_photoresistor_task.zero = blue_photo_sum / 3;

    // --- Drive both to their homes under P-control ---
    uint32_t t0 = HAL_GetTick();
    do {
        read_encoder(&red_encoder);
        read_encoder(&blue_encoder);

        go_to(&mred,  Kp, red_home,  -red_encoder.ticks);
        go_to(&mblue, Kp, blue_home, blue_encoder.ticks);

        HAL_Delay(1);
    } while ((abs(-red_encoder.ticks  - red_home)  > HOMING_TOL ||
              abs(blue_encoder.ticks - blue_home) > HOMING_TOL)
             && (HAL_GetTick() - t0) < TIMEOUT);

    set_duty(&mred,  0);
    set_duty(&mblue, 0);

    // 5) Reset encoder zero-reference at true home
    setup_encoder(&red_encoder);
    setup_encoder(&blue_encoder);

    // --- Compute and store travel ranges ---
    red_encoder.range  = abs(red_max  - red_min);
    blue_encoder.range = abs(blue_max - blue_min);
}

/* USER CODE END 4 */

void Error_Handler(void)
{
  __disable_irq();
  while (1)
  {
  }
}
